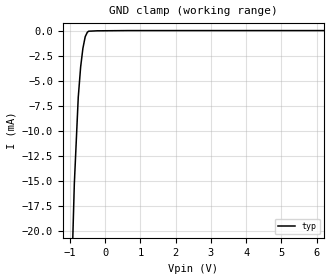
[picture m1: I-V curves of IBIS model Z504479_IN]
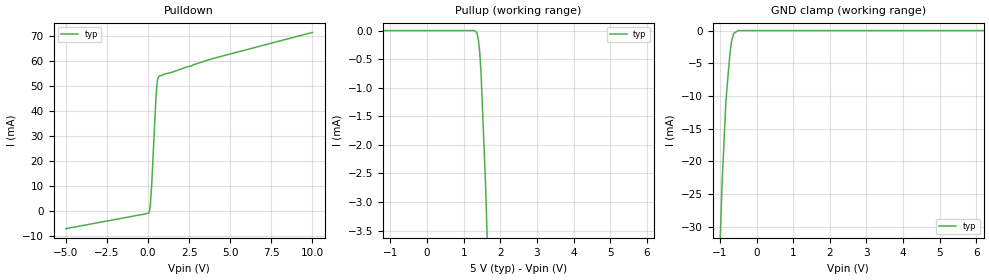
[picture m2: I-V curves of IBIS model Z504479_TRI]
| YOU ARE ONLY AUTHORIZED TO USE THIS SOFTWARE
| ACCORDING TO LICENSOR'S LICENSE RESTRICTIONS.
[IBIS Ver] 3.1
[File Name] sn54ls796j.ibs
[File Rev] 2.0
[Source] Measured and created by ICX Technology
[Date] Friday 7/14/00 9:08:15 AM
[Copyright]
| (C) COPYRIGHT 1993-2000
| MENTOR GRAPHICS CORPORATION
| ICX STANDARD LIBRARY, ICX PROJECT MODELING,
| ICX CUSTOM MODELING, ICX VENDOR MODEL
| ALL RIGHTS RESERVED.
| THE FOLLOWING ARE TRADEMARKS OR SERVICE MARKS OF
| MENTOR GRAPHICS CORPORATION:ICX (R), ICX STANDARD
| LIBRARY(R), ICX PROJECT MODELING(R), ICX CUSTOM
| MODELING(R), qualityIBIS(TM), MODELVIEWER(TM),
| AND MODELEDITOR(TM)
| ALL COPIES OF SOFTWARE, INCLUDING BUT NOT LIMITED TO
| ANY MODIFICATIONS, ENHANCEMENTS OR DERIVATIVE WORKS,
| MUST CONTAIN ALL MENTOR GRAPHICS CORPORATION'S
| NOTICES AND LEGENDS, INCLUDING THOSE EMBEDDED IN
| SOFTWARE AND THOSE AFFIXED TO SOFTWARE MEDIUM
| AND CONTAINER, AS RECEIVED FROM MENTOR GRAPHICS
| CORPORATION.
|  ZAP Model Builder 2.7
[Component] SN54LS796J
[Manufacturer] OnSemiconductor
[Package]
| variable   typ   min   max
R_pkg  .216ohms NA NA
L_pkg  5.76nH NA NA
C_pkg  2.193pF NA NA
[Pin] signal_name  model_name  R_pin  L_pin C_pin
1 _G1 Z504479_IN .232 9.76n 3.179p
2 A1 Z504479_IN .224 7.26n 2.686p
3 Y1 Z504479_TRI .216 5.26n 2.193p
4 A2 Z504479_IN .208 3.76n 1.7p
5 Y2 Z504479_TRI .2 2.76n 1.207p
6 A3 Z504479_IN .2 2.76n 1.207p
7 Y3 Z504479_TRI .208 3.76n 1.7p
8 A4 Z504479_IN .216 5.26n 2.193p
9 Y4 Z504479_TRI .224 7.26n 2.686p
10 GND GND .232 9.76n 3.179p
11 Y5 Z504479_TRI .232 9.76n 3.179p
12 A5 Z504479_IN .224 7.26n 2.686p
13 Y6 Z504479_TRI .216 5.26n 2.193p
14 A6 Z504479_IN .208 3.76n 1.7p
15 Y7 Z504479_TRI .2 2.76n 1.207p
16 A7 Z504479_IN .2 2.76n 1.207p
17 Y8 Z504479_TRI .208 3.76n 1.7p
18 A8 Z504479_IN .216 5.26n 2.193p
19 _G2 Z504479_IN .224 7.26n 2.686p
20 VCC POWER .232 9.76n 3.179p
| Models and submodels in the file (2): Z504479_IN (Input), Z504479_TRI (3-state)
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| (C) COPYRIGHT 1993-2000
| MENTOR GRAPHICS CORPORATION
| ICX STANDARD LIBRARY, ICX PROJECT MODELING,
| ICX CUSTOM MODELING, ICX VENDOR MODEL
| ALL RIGHTS RESERVED.
| THE FOLLOWING ARE TRADEMARKS OR SERVICE MARKS OF
| MENTOR GRAPHICS CORPORATION:ICX (R), ICX STANDARD
| LIBRARY(R), ICX PROJECT MODELING(R), ICX CUSTOM
| MODELING(R), qualityIBIS(TM), MODELVIEWER(TM),
| AND MODELEDITOR(TM)
| ALL COPIES OF SOFTWARE, INCLUDING BUT NOT LIMITED TO
| ANY MODIFICATIONS, ENHANCEMENTS OR DERIVATIVE WORKS,
| MUST CONTAIN ALL MENTOR GRAPHICS CORPORATION'S
| NOTICES AND LEGENDS, INCLUDING THOSE EMBEDDED IN
| SOFTWARE AND THOSE AFFIXED TO SOFTWARE MEDIUM
| AND CONTAINER, AS RECEIVED FROM MENTOR GRAPHICS
| CORPORATION.
| Model Application Version 1.89 2/18/99.
[Model] Z504479_IN
Model_type Input
Vinl = 800.0mV
Vinh = 2.000V
C_comp 4.000pF NA NA
| variable typ   min   max
[Voltage Range] 5.000V NA NA
[GND Clamp Reference] 0.000V NA NA
[POWER Clamp Reference] 5.000V NA NA
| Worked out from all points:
|   GND clamp passes 1 mA (typ) near -0.59 V on its own axis
[GND Clamp]
-5V       -530.4mA   NA         NA
-873.1mV  -15.35mA   NA         NA
-761.5mV  -6.67mA    NA         NA
-693.4mV  -3.619mA   NA         NA
-629.5mV  -1.764mA   NA         NA
-563.6mV  -595.7uA   NA         NA
-503.8mV  -157uA     NA         NA
-466.7mV  -51.67uA   NA         NA
-233.3mV  -11.93uA   NA         NA
646.6mV   12.56uA    NA         NA
10V       12.56uA    NA         NA
[POWER Clamp]
-5V       0A         NA         NA
10V       0A         NA         NA
| (C) COPYRIGHT 1993-2000
| MENTOR GRAPHICS CORPORATION
| ICX STANDARD LIBRARY, ICX PROJECT MODELING,
| ICX CUSTOM MODELING, ICX VENDOR MODEL
| ALL RIGHTS RESERVED.
| THE FOLLOWING ARE TRADEMARKS OR SERVICE MARKS OF
| MENTOR GRAPHICS CORPORATION:ICX (R), ICX STANDARD
| LIBRARY(R), ICX PROJECT MODELING(R), ICX CUSTOM
| MODELING(R), qualityIBIS(TM), MODELVIEWER(TM),
| AND MODELEDITOR(TM)
| ALL COPIES OF SOFTWARE, INCLUDING BUT NOT LIMITED TO
| ANY MODIFICATIONS, ENHANCEMENTS OR DERIVATIVE WORKS,
| MUST CONTAIN ALL MENTOR GRAPHICS CORPORATION'S
| NOTICES AND LEGENDS, INCLUDING THOSE EMBEDDED IN
| SOFTWARE AND THOSE AFFIXED TO SOFTWARE MEDIUM
| AND CONTAINER, AS RECEIVED FROM MENTOR GRAPHICS
| CORPORATION.
| Model Application Version 1.89 2/18/99.
[Model] Z504479_TRI
Model_type 3-state
Vref=588.0mV
Rref=588.5ohms
Cref=45.00pF
Vmeas=1.300V
C_comp 8.000pF NA NA
| variable typ   min   max
[Voltage Range] 5.000V NA NA
[POWER Clamp Reference] 5.000V NA NA
[Pullup Reference] 5.000V NA NA
[Pulldown Reference] 0.000V NA NA
[GND Clamp Reference] 0.000V NA NA
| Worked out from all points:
|   slope of the pulldown table from 0 to 0.75 V, typ, clamps not added: 13.6 ohm
|   GND clamp passes 1 mA (typ) near -0.65 V on its own axis
[GND Clamp]
-5V       -995mA     NA         NA
-1.094V   -49.49mA   NA         NA
-940.3mV  -23.51mA   NA         NA
-834.7mV  -10.85mA   NA         NA
-723.2mV  -3.379mA   NA         NA
-683.5mV  -1.729mA   NA         NA
-625mV    -446.6uA   NA         NA
-500mV    0A         NA         NA
10V       0A         NA         NA
[Pulldown]
-5V       -7.115mA   NA         NA
29.34mV   -968.8uA   NA         NA
87.81mV   -6.008uA   NA         NA
130.1mV   1.66mA     NA         NA
219.5mV   9.861mA    NA         NA
459.6mV   42.7mA     NA         NA
517.6mV   48.62mA    NA         NA
571.3mV   52.18mA    NA         NA
610.3mV   53.18mA    NA         NA
667.6mV   53.76mA    NA         NA
3.853V    60.7mA     NA         NA
10V       71.3mA     NA         NA
[Pullup]
-5V       791.2nA    NA         NA
1.301V    791.2nA    NA         NA
1.364V    -45.27uA   NA         NA
1.401V    -157.2uA   NA         NA
1.44V     -385.4uA   NA         NA
1.475V    -745.3uA   NA         NA
1.597V    -2.691mA   NA         NA
10V       -177.5mA   NA         NA
[POWER Clamp]
-5V       0A         NA         NA
10V       0A         NA         NA
[Ramp]
| variable typ min max
dV/dt_r 1.886/10.29n NA NA
dV/dt_f 1.886/4.304n NA NA
R_load = 500.0Ohms
